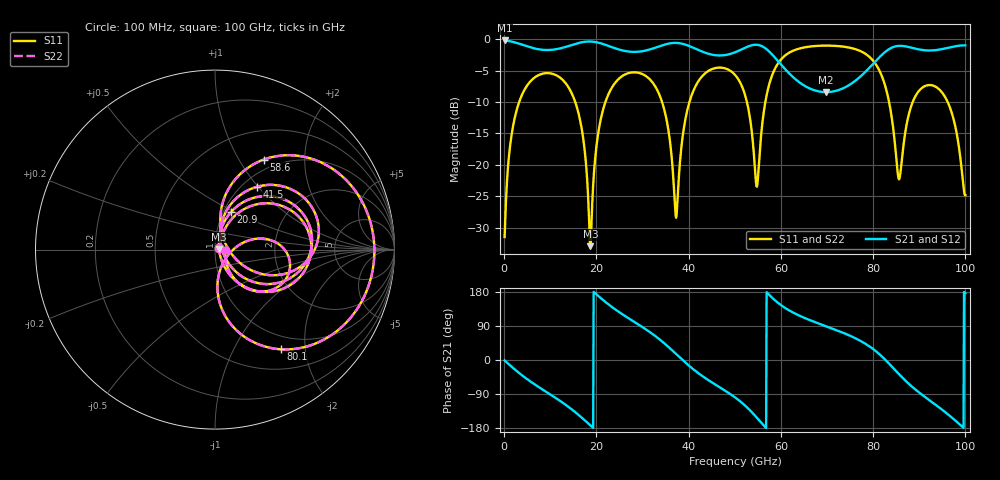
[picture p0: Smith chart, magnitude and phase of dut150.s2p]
! Touchstone file exported from HFSS 2026.1.0
!  File:  C:/ffzhzh/LocalFiles/Ansys_Project_Files/temp_train_TSV_RDL_150_1783644774_33328.aedt
!  Generated:  09:05:31 AM Jul 10, 2026
!  Design:  TSV_RDL
!  Project:  temp_train_TSV_RDL_150_1783644774_33328
! Variables:
!  h_bsmrdl = 2.04um
!  h_ox = 20um
!  h_rdl = 5um
!  h_sub = 78.51um
!  h_tmrdl = 2.29um
!  h_tsv = 78.51um
!  h_via = 3um
!  l_bsmrdl = 135.93um
!  l_sub = 2983.94um
!  l_tmrdl = 518.02um
!  m_sub = 200um
!  pitch = 43.45um
!  r_tsv = 8.08um
!  s_tmrdl = 10um
!  w_bsmrdl = 17.71um
!  w_sub = 500um
!  w_tmrdl = 16.98um
!  x_tsv_center1 = 526.51um
!  x_tsv_center2 = 680.15um
!  x_tsv_center3 = 1215.15um
!  x_tsv_center4 = 1368.79um
!  x_tsv_center5 = 1903.79um
!  x_tsv_center6 = 2057.43um
# GHz S MA R 50.000000
! Terminal data exported
! Port[1] = TM_RDL1_1_T1
! Port[2] = TM_RDL5_1_T1
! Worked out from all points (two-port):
!   1000 points, 100 MHz to 100 GHz, reference 50 ohm
!   highest |S21| = -0.21 dB at 100 MHz (marker M1); lowest = -8.4 dB at 69.8 GHz (marker M2)
!   |S21| within 3 dB of the highest: start of sweep to 59.04 GHz; 80.92 GHz to end of sweep
!   lowest |S11| = -32.9 dB at 18.7 GHz (marker M3), VSWR 1.05, Z = 52.3 + j0.41 ohm
!   |S11| at or under -10 dB: 15.41 GHz to 21.96 GHz (6.544 GHz wide, 35 % of centre); 34.24 GHz to 40.17 GHz (5.935 GHz wide, 16 % of centre); 83.45 GHz to 88.58 GHz (5.125 GHz wide, 5.96 % of centre) (the widest 3 of 6)
!   |S22| runs from -32.9 to -1.0 dB; largest |S21 - S12| = 3.7e-14
!   S11 on the Smith chart (normalised r, x): 100 MHz: 1.05, +0.02; 20.9 GHz: 1.08, +0.48; 41.5 GHz: 1.16, +0.99; 58.6 GHz: 0.86, +1.28; 80.1 GHz: 0.79, -1.57; 100 GHz: 1.12, +0.00
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0.1  0.02677 24.8  0.9759 -1.2  0.9759 -1.2  0.02677 24.8
! Gamma 0 0 0 0
! Port Impedance 50 0 50 0
1.9  0.2006 60.9  0.9505 -20.7  0.9505 -20.7  0.2006 60.9
5.5  0.4531 31.8  0.8643 -55.0  0.8643 -55.0  0.4531 31.7
10.7  0.5269 -7.7  0.8253 -96.4  0.8253 -96.4  0.5269 -7.7
16.8  0.1954 -57.4  0.9437 -151.9  0.9437 -151.9  0.1955 -57.4
18.7  0.02262 10.0  0.9571 -172.5  0.9571 -172.5  0.02259 9.8
20.9  0.2264 67.0  0.9271 163.8  0.9271 163.8  0.2263 67.0
27.8  0.5442 12.5  0.7923 103.7  0.7923 103.7  0.5442 12.5
33.4  0.3797 -29.9  0.8707 57.3  0.8707 57.3  0.3797 -30.0
37.3  0.03804 19.5  0.9332 15.6  0.9332 15.6  0.0373 19.5
41.5  0.4232 56.0  0.8385 -29.2  0.8385 -29.2  0.4231 56.1
50.1  0.5174 -6.9  0.7868 -99.0  0.7868 -99.0  0.5175 -6.8
54.8  0.0671 28.8  0.9014 -152.4  0.9014 -152.4  0.06773 28.7
58.6  0.5702 61.6  0.7209 158.7  0.7209 158.7  0.5701 61.6
66.7  0.8765 11.7  0.3989 103.2  0.3989 103.2  0.8764 11.7
69.8  0.8881 -1.3  0.379 89.1  0.379 89.1  0.888 -1.4
80.1  0.6664 -56.4  0.6422 27.9  0.6422 27.9  0.6664 -56.5
83.4  0.3234 -83.9  0.8306 -8.9  0.8306 -8.9  0.3234 -84.0
85.7  0.07763 -27.5  0.8846 -38.6  0.8846 -38.6  0.07743 -27.5
90.4  0.4041 -3.5  0.8225 -89.8  0.8225 -89.8  0.404 -3.6
96.3  0.3079 -47.5  0.8546 -144.2  0.8546 -144.2  0.3077 -47.7
100  0.05749 0.1  0.892 176.5  0.892 176.5  0.05588 0.2
